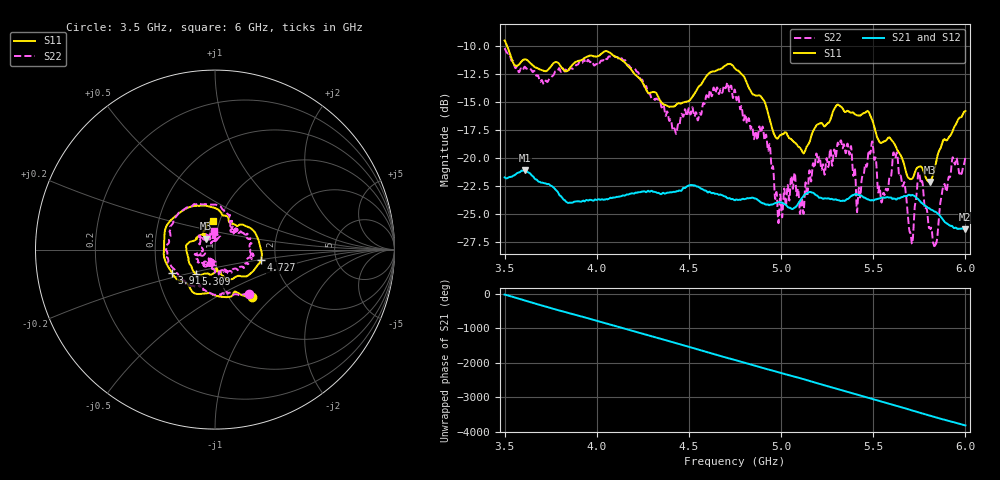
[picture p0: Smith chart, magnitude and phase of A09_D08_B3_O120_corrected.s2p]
! Created with skrf 1.9.0 (http://scikit-rf.org).
# Hz S RI R 50.0
!freq ReS11 ImS11 ReS21 ImS21 ReS12 ImS12 ReS22 ImS22
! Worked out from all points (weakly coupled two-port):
!   1601 points, 3.5 GHz to 6 GHz, reference 50 ohm
!   highest |S21| = -21.09 dB at 3.609 GHz (marker M1); lowest = -26.3 dB at 5.997 GHz (marker M2)
!   lowest |S11| = -22.1 dB at 5.806 GHz (marker M3), VSWR 1.17, Z = 45 + j5.51 ohm
!   |S11| at or under -10 dB: 3.514 GHz to end of sweep
!   |S22| runs from -27.8 to -10.2 dB; largest |S21 - S12| = 0.0012
!   S11 on the Smith chart (normalised r, x): 3.5 GHz: 1.26, -0.76; 3.911 GHz: 0.60, -0.17; 4.727 GHz: 1.68, -0.20; 5.309 GHz: 0.78, -0.22; 6 GHz: 0.93, +0.31
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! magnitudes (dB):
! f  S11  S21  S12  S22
! 3.5 GHz  -9.5  -21.7  -21.7  -10.2
! 3.609 GHz  -11.2  -21.1  -21.1  -11.8
! 3.911 GHz  -11.3  -23.9  -23.9  -11.3
! 3.917 GHz  -11.2  -23.9  -23.9  -11.5
! 4.334 GHz  -14.5  -23.1  -23.1  -14.8
! 4.423 GHz  -15.4  -23.0  -23.0  -17.4
! 4.727 GHz  -11.6  -23.6  -23.5  -13.5
! 4.75 GHz  -12.0  -23.8  -23.7  -14.0
! 4.909 GHz  -14.9  -24.1  -24.0  -18.3
! 4.994 GHz  -18.0  -23.9  -23.9  -23.5
! 5.167 GHz  -17.8  -23.1  -23.0  -21.4
! 5.309 GHz  -15.2  -23.7  -23.7  -18.7
! 5.419 GHz  -16.2  -23.3  -23.3  -23.2
! 5.487 GHz  -16.3  -23.8  -23.7  -19.3
! 5.537 GHz  -18.6  -23.6  -23.6  -22.9
! 5.584 GHz  -18.2  -23.5  -23.5  -22.2
! 5.622 GHz  -18.9  -23.7  -23.7  -19.9
! 5.706 GHz  -21.9  -23.3  -23.3  -27.2
! 5.755 GHz  -20.7  -23.9  -23.8  -21.8
! 5.806 GHz  -22.1  -24.5  -24.5  -26.2
! 5.997 GHz  -15.8  -26.3  -26.3  -20.2
! 6 GHz  -15.8  -26.3  -26.3  -19.9
